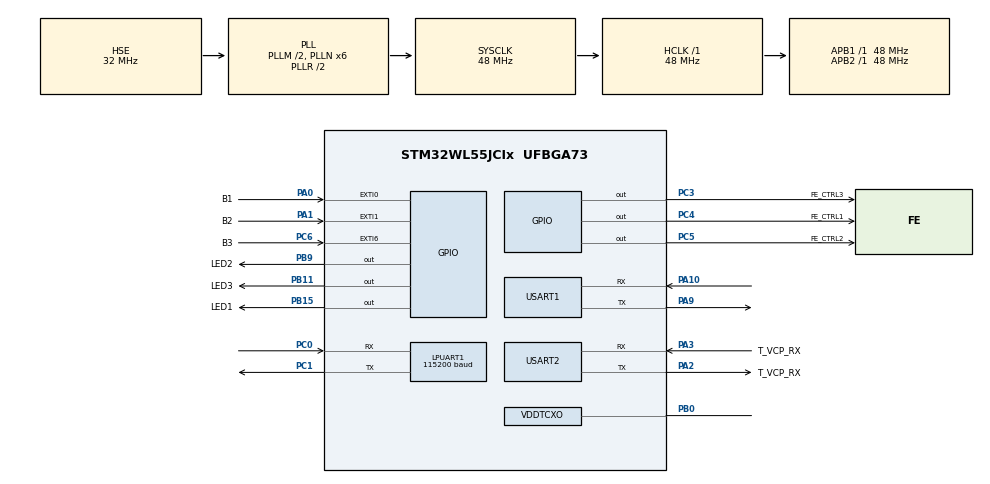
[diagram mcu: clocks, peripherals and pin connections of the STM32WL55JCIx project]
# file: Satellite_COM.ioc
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Dma.LPUART1_RX.0.Channel_PRIV_NPRIV=DMA_CHANNEL_NPRIV_DISABLE
Dma.LPUART1_RX.0.Direction=DMA_PERIPH_TO_MEMORY
Dma.LPUART1_RX.0.EventEnable=DISABLE
Dma.LPUART1_RX.0.Instance=DMA1_Channel1
Dma.LPUART1_RX.0.MemDataAlignment=DMA_MDATAALIGN_BYTE
Dma.LPUART1_RX.0.MemInc=DMA_MINC_ENABLE
Dma.LPUART1_RX.0.Mode=DMA_NORMAL
Dma.LPUART1_RX.0.PeriphDataAlignment=DMA_PDATAALIGN_BYTE
Dma.LPUART1_RX.0.PeriphInc=DMA_PINC_DISABLE
Dma.LPUART1_RX.0.Polarity=HAL_DMAMUX_REQ_GEN_RISING
Dma.LPUART1_RX.0.Priority=DMA_PRIORITY_LOW
Dma.LPUART1_RX.0.RequestNumber=1
Dma.LPUART1_RX.0.SignalID=NONE
Dma.LPUART1_RX.0.SyncEnable=DISABLE
Dma.LPUART1_RX.0.SyncPolarity=HAL_DMAMUX_SYNC_NO_EVENT
Dma.LPUART1_RX.0.SyncRequestNumber=1
Dma.LPUART1_RX.0.SyncSignalID=NONE
Dma.LPUART1_TX.1.Channel_PRIV_NPRIV=DMA_CHANNEL_NPRIV_DISABLE
Dma.LPUART1_TX.1.Direction=DMA_MEMORY_TO_PERIPH
Dma.LPUART1_TX.1.EventEnable=DISABLE
Dma.LPUART1_TX.1.Instance=DMA1_Channel2
Dma.LPUART1_TX.1.MemDataAlignment=DMA_MDATAALIGN_BYTE
Dma.LPUART1_TX.1.MemInc=DMA_MINC_ENABLE
Dma.LPUART1_TX.1.Mode=DMA_NORMAL
Dma.LPUART1_TX.1.PeriphDataAlignment=DMA_PDATAALIGN_BYTE
Dma.LPUART1_TX.1.PeriphInc=DMA_PINC_DISABLE
Dma.LPUART1_TX.1.Polarity=HAL_DMAMUX_REQ_GEN_RISING
Dma.LPUART1_TX.1.Priority=DMA_PRIORITY_LOW
Dma.LPUART1_TX.1.RequestNumber=1
Dma.LPUART1_TX.1.SignalID=NONE
Dma.LPUART1_TX.1.SyncEnable=DISABLE
Dma.LPUART1_TX.1.SyncPolarity=HAL_DMAMUX_SYNC_NO_EVENT
Dma.LPUART1_TX.1.SyncRequestNumber=1
Dma.LPUART1_TX.1.SyncSignalID=NONE
Dma.Request0=LPUART1_RX
Dma.Request1=LPUART1_TX
Dma.Request2=USART1_RX
Dma.Request3=USART1_TX
Dma.Request4=USART2_RX
Dma.Request5=USART2_TX
Dma.USART1_RX.2.Channel_PRIV_NPRIV=DMA_CHANNEL_NPRIV_DISABLE
Dma.USART1_RX.2.Direction=DMA_PERIPH_TO_MEMORY
Dma.USART1_RX.2.EventEnable=DISABLE
Dma.USART1_RX.2.Instance=DMA1_Channel3
Dma.USART1_RX.2.MemDataAlignment=DMA_MDATAALIGN_BYTE
Dma.USART1_RX.2.MemInc=DMA_MINC_ENABLE
Dma.USART1_RX.2.Mode=DMA_NORMAL
Dma.USART1_RX.2.PeriphDataAlignment=DMA_PDATAALIGN_BYTE
Dma.USART1_RX.2.PeriphInc=DMA_PINC_DISABLE
Dma.USART1_RX.2.Polarity=HAL_DMAMUX_REQ_GEN_RISING
Dma.USART1_RX.2.Priority=DMA_PRIORITY_LOW
Dma.USART1_RX.2.RequestNumber=1
Dma.USART1_RX.2.SignalID=NONE
Dma.USART1_RX.2.SyncEnable=DISABLE
Dma.USART1_RX.2.SyncPolarity=HAL_DMAMUX_SYNC_NO_EVENT
Dma.USART1_RX.2.SyncRequestNumber=1
Dma.USART1_RX.2.SyncSignalID=NONE
Dma.USART1_TX.3.Channel_PRIV_NPRIV=DMA_CHANNEL_NPRIV_DISABLE
Dma.USART1_TX.3.Direction=DMA_MEMORY_TO_PERIPH
Dma.USART1_TX.3.EventEnable=DISABLE
Dma.USART1_TX.3.Instance=DMA1_Channel4
Dma.USART1_TX.3.MemDataAlignment=DMA_MDATAALIGN_BYTE
Dma.USART1_TX.3.MemInc=DMA_MINC_ENABLE
Dma.USART1_TX.3.Mode=DMA_NORMAL
Dma.USART1_TX.3.PeriphDataAlignment=DMA_PDATAALIGN_BYTE
Dma.USART1_TX.3.PeriphInc=DMA_PINC_DISABLE
Dma.USART1_TX.3.Polarity=HAL_DMAMUX_REQ_GEN_RISING
Dma.USART1_TX.3.Priority=DMA_PRIORITY_LOW
Dma.USART1_TX.3.RequestNumber=1
Dma.USART1_TX.3.SignalID=NONE
Dma.USART1_TX.3.SyncEnable=DISABLE
Dma.USART1_TX.3.SyncPolarity=HAL_DMAMUX_SYNC_NO_EVENT
Dma.USART1_TX.3.SyncRequestNumber=1
Dma.USART1_TX.3.SyncSignalID=NONE
Dma.USART2_RX.4.Channel_PRIV_NPRIV=DMA_CHANNEL_NPRIV_DISABLE
Dma.USART2_RX.4.Direction=DMA_PERIPH_TO_MEMORY
Dma.USART2_RX.4.EventEnable=DISABLE
Dma.USART2_RX.4.Instance=DMA1_Channel5
Dma.USART2_RX.4.MemDataAlignment=DMA_MDATAALIGN_BYTE
Dma.USART2_RX.4.MemInc=DMA_MINC_ENABLE
Dma.USART2_RX.4.Mode=DMA_NORMAL
Dma.USART2_RX.4.PeriphDataAlignment=DMA_PDATAALIGN_BYTE
Dma.USART2_RX.4.PeriphInc=DMA_PINC_DISABLE
Dma.USART2_RX.4.Polarity=HAL_DMAMUX_REQ_GEN_RISING
Dma.USART2_RX.4.Priority=DMA_PRIORITY_LOW
Dma.USART2_RX.4.RequestNumber=1
Dma.USART2_RX.4.SignalID=NONE
Dma.USART2_RX.4.SyncEnable=DISABLE
Dma.USART2_RX.4.SyncPolarity=HAL_DMAMUX_SYNC_NO_EVENT
Dma.USART2_RX.4.SyncRequestNumber=1
Dma.USART2_RX.4.SyncSignalID=NONE
Dma.USART2_TX.5.Channel_PRIV_NPRIV=DMA_CHANNEL_NPRIV_DISABLE
Dma.USART2_TX.5.Direction=DMA_MEMORY_TO_PERIPH
Dma.USART2_TX.5.EventEnable=DISABLE
Dma.USART2_TX.5.Instance=DMA1_Channel6
Dma.USART2_TX.5.MemDataAlignment=DMA_MDATAALIGN_BYTE
Dma.USART2_TX.5.MemInc=DMA_MINC_ENABLE
Dma.USART2_TX.5.Mode=DMA_NORMAL
Dma.USART2_TX.5.PeriphDataAlignment=DMA_PDATAALIGN_BYTE
Dma.USART2_TX.5.PeriphInc=DMA_PINC_DISABLE
Dma.USART2_TX.5.Polarity=HAL_DMAMUX_REQ_GEN_RISING
Dma.USART2_TX.5.Priority=DMA_PRIORITY_LOW
Dma.USART2_TX.5.RequestNumber=1
Dma.USART2_TX.5.SignalID=NONE
Dma.USART2_TX.5.SyncEnable=DISABLE
Dma.USART2_TX.5.SyncPolarity=HAL_DMAMUX_SYNC_NO_EVENT
Dma.USART2_TX.5.SyncRequestNumber=1
Dma.USART2_TX.5.SyncSignalID=NONE
LPUART1.BaudRate=115200
Mcu.Family=STM32WL
Mcu.Name=STM32WL55JCIx
Mcu.Package=UFBGA73
NVIC.DMA1_Channel1_IRQn=true\:0\:0\:false\:false\:true\:false\:true\:true
NVIC.DMA1_Channel2_IRQn=true\:0\:0\:false\:false\:true\:false\:true\:true
NVIC.DMA1_Channel3_IRQn=true\:0\:0\:false\:false\:true\:false\:true\:true
NVIC.DMA1_Channel4_IRQn=true\:0\:0\:false\:false\:true\:false\:true\:true
NVIC.DMA1_Channel5_IRQn=true\:0\:0\:false\:false\:true\:false\:true\:true
NVIC.DMA1_Channel6_IRQn=true\:0\:0\:false\:false\:true\:false\:true\:true
NVIC.LPUART1_IRQn=true\:0\:0\:false\:false\:true\:true\:true\:true
NVIC.PriorityGroup=NVIC_PRIORITYGROUP_4
NVIC.SUBGHZ_Radio_IRQn=true\:0\:0\:false\:false\:true\:true\:true\:true
NVIC.TIM1_UP_IRQn=true\:0\:0\:false\:false\:true\:true\:true\:true
NVIC.USART1_IRQn=true\:0\:0\:false\:false\:true\:true\:true\:true
NVIC.USART2_IRQn=true\:0\:0\:false\:false\:true\:true\:true\:true
OSC_IN.Mode=HSE-TCXO
OSC_IN.Signal=RCC_OSC_IN
PA0.GPIO_Label=B1
PA0.GPIO_ModeDefaultEXTI=GPIO_MODE_IT_FALLING
PA0.GPIO_PuPd=GPIO_PULLUP
PA0.Signal=GPXTI0
PA1.GPIO_Label=B2
PA1.GPIO_ModeDefaultEXTI=GPIO_MODE_IT_FALLING
PA1.GPIO_PuPd=GPIO_PULLUP
PA1.Signal=GPXTI1
PA10.Mode=Asynchronous
PA10.Signal=USART1_RX
PA13.Mode=Serial_Wire
PA13.Signal=DEBUG_JTMS-SWDIO
PA14.Mode=Serial_Wire
PA14.Signal=DEBUG_JTCK-SWCLK
PA2.GPIO_Label=T_VCP_RX
PA2.Mode=Asynchronous
PA2.Signal=USART2_TX
PA3.GPIO_Label=T_VCP_RX
PA3.Mode=Asynchronous
PA3.Signal=USART2_RX
PA9.Mode=Asynchronous
PA9.Signal=USART1_TX
PB0-VDD_TCXO.Mode=HSE-TCXO
PB0-VDD_TCXO.Signal=VDDTCXO
PB11.GPIO_Label=LED3
PB11.GPIO_Speed=GPIO_SPEED_FREQ_HIGH
PB11.Signal=GPIO_Output
PB15.GPIO_Label=LED1
PB15.GPIO_Speed=GPIO_SPEED_FREQ_HIGH
PB15.Signal=GPIO_Output
PB9.GPIO_FM9=__NULL
PB9.GPIO_Label=LED2
PB9.GPIO_Speed=GPIO_SPEED_FREQ_HIGH
PB9.Signal=GPIO_Output
PC0.Mode=Asynchronous
PC0.Signal=LPUART1_RX
PC1.Mode=Asynchronous
PC1.Signal=LPUART1_TX
PC14-OSC32_IN.Signal=RCC_OSC32_IN
PC15-OSC32_OUT.Signal=RCC_OSC32_OUT
PC3.GPIO_Label=FE_CTRL3
PC3.GPIO_Speed=GPIO_SPEED_FREQ_VERY_HIGH
PC3.Signal=GPIO_Output
PC4.GPIO_Label=FE_CTRL1
PC4.GPIO_Speed=GPIO_SPEED_FREQ_VERY_HIGH
PC4.Signal=GPIO_Output
PC5.GPIO_Label=FE_CTRL2
PC5.GPIO_Speed=GPIO_SPEED_FREQ_VERY_HIGH
PC5.Signal=GPIO_Output
PC6.GPIO_Label=B3
PC6.GPIO_ModeDefaultEXTI=GPIO_MODE_IT_FALLING
PC6.GPIO_PuPd=GPIO_PULLUP
PC6.Signal=GPXTI6
ProjectManager.HeapSize=0x200
ProjectManager.StackSize=0x400
ProjectManager.TargetToolchain=STM32CubeIDE
RCC.AHBFreq_Value=48000000
RCC.APB1Freq_Value=48000000
RCC.APB1TimFreq_Value=48000000
RCC.APB2Freq_Value=48000000
RCC.APB2TimFreq_Value=48000000
RCC.APB3Freq_Value=48000000
RCC.CortexFreq_Value=48000000
RCC.HCLKFreq_Value=48000000
RCC.HSE_VALUE=32000000
RCC.HSI_VALUE=16000000
RCC.LSE_VALUE=32768
RCC.PLLM=RCC_PLLM_DIV2
RCC.PLLN=6
RCC.PLLSourceVirtual=RCC_PLLSOURCE_HSE
RCC.SYSCLKFreq_VALUE=48000000
RCC.SYSCLKSource=RCC_SYSCLKSOURCE_PLLCLK
RCC.VCOOutputFreq_Value=96000000
SUBGHZ.BaudratePrescaler=SUBGHZSPI_BAUDRATEPRESCALER_4
TIM1.Period=1000-1
TIM1.Prescaler=48-1
TIM2.AutoReloadPreload=TIM_AUTORELOAD_PRELOAD_ENABLE
TIM2.Period=1000001-1
TIM2.Prescaler=48-1
USART1.VirtualMode-Asynchronous=VM_ASYNC
USART2.VirtualMode-Asynchronous=VM_ASYNC
VP_ADV_TRACE_VS_ADV_TRACE.Mode=ADV_TRACE_Enabled
VP_MISC_VS_MISC.Mode=MISC_Enabled
VP_SEQUENCER_M4_VS_SEQUENCER.Mode=SEQUENCER_Enabled
VP_SUBGHZ_PHY_VS_SubGhzPhy.Mode=SubGhzPhy_Enabled
VP_SUBGHZ_VS_SUBGHZ.Mode=SUBGHZ_Activate
VP_TIM1_VS_ClockSourceINT.Mode=Internal
VP_TIM2_VS_ClockSourceINT.Mode=Internal
VP_TIMER_VS_TIMER.Mode=TIMER_Enabled
VP_TINY_LPM_VS_TINY_LPM.Mode=TINY_LPM_Enabled
board=NUCLEO-WL55JC2

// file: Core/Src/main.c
/* USER CODE BEGIN Header */
/**
 ******************************************************************************
 * @file           : main.c
 * @brief          : Main program body
 ******************************************************************************
 * @attention
 *
 * Copyright (c) 2024 STMicroelectronics.
 * All rights reserved.
 *
 * This software is licensed under terms that can be found in the LICENSE file
 * in the root directory of this software component.
 * If no LICENSE file comes with this software, it is provided AS-IS.
 *
 ******************************************************************************
 */
/* USER CODE END Header */
#include "main.h"
#include "app_subghz_phy.h"

/* USER CODE BEGIN Includes */
#include "radio_driver.h"
#include "com_debug.h"
#include "error_handler.h"
#include "ax25_generator.h"
#include "obc_interface.h"
/* USER CODE END Includes */

/* USER CODE BEGIN PM */
#define RX_BUFF_LENGTH			(105)
#define OBC_PAYLOAD_LENGTH		(85)

#define FREQ_435_MHZ            (435313000) //UP-LINK
#define FREQ_437_MHZ			(437375000)	//DOWN-LINK

#define PA_DUTY_CYCLE           (0x07)
#define HP_MAX                  (0x00)
#define PA_SEL                  (0x01)

#define POWER                   (0x0E)
#define RAMP_TIME               (0x02)

#define GFSK_BR_1200            1200
#define GFSK_FDEV_1200          3000

#define GFSK_BR_4800            4800
#define GFSK_FDEV_4800          12000
/* USER CODE END PM */

UART_HandleTypeDef hlpuart1;
UART_HandleTypeDef huart1;
UART_HandleTypeDef huart2;
DMA_HandleTypeDef hdma_lpuart1_rx;
DMA_HandleTypeDef hdma_lpuart1_tx;
DMA_HandleTypeDef hdma_usart1_rx;
DMA_HandleTypeDef hdma_usart1_tx;
DMA_HandleTypeDef hdma_usart2_rx;
DMA_HandleTypeDef hdma_usart2_tx;

SUBGHZ_HandleTypeDef hsubghz;

TIM_HandleTypeDef htim1;
TIM_HandleTypeDef htim2;

/* USER CODE BEGIN PV */
PacketParams_t pkt_params;
ModulationParams_t mod_params;

uint8_t rx_buffer_len = RX_BUFF_LENGTH;
uint8_t rx_buffer[RX_BUFF_LENGTH];

uint8_t rssi_value = 0;

uint8_t obc_plen = OBC_PAYLOAD_LENGTH;
uint8_t obc_ilen = 0;

uint8_t OBC_UART_RX[OBC_PAYLOAD_LENGTH];

int OBC_SUCCESS_DATA_RX_FLAG = 0;

uint8_t temp_tx_buffer[150];
uint8_t tx_buffer[150];
int tx_buffer_len = 0;

int OBC_HANDSHAKE_FLAG = 0;

int DIGIPEATER_STATUS = 0;
int BEACON_COUNT = 2;
int COUNT_BEACON = 2;

uint8_t PACKET_TYPE = 0;
int DIGIPEATER_FLAG = 0;
int DIGIPEATER_RX_FLAG = 0;

int packet_type_true = 0;

uint32_t mSEC = 0;
uint32_t sec = 0;
uint32_t min = 0;
int count = 0;
int pktid = 0;

/* USER CODE END PV */

void SystemClock_Config(void);
static void MX_GPIO_Init(void);
static void MX_DMA_Init(void);
static void MX_USART2_UART_Init(void);
static void MX_LPUART1_UART_Init(void);
static void MX_USART1_UART_Init(void);
static void MX_TIM2_Init(void);
static void MX_TIM1_Init(void);
/* USER CODE BEGIN PFP */
int countsDataBetweenFlags(uint8_t *data, int data_length);
void setPacketParams(uint8_t buffer_length);
void setModulationParams(unsigned long bitRate, unsigned long fDev);
void radioConfig(uint8_t *buffer, uint8_t buffer_len);
void DioIrqHndlr(RadioIrqMasks_t radioIrq);
void HAL_UART_RxCpltCallback(UART_HandleTypeDef *huart);
/* USER CODE END PFP */

/* USER CODE BEGIN 0 */

void HAL_TIM_PeriodElapsedCallback(TIM_HandleTypeDef *htim) {
	if (htim == &htim1) {

		mSEC++;

		if (mSEC > 999) {
			sec++;
			count++;
			mSEC = 0;
		}

		if (sec > 60) {
			min++;
			sec = 0;
		}

		if (count == 1) {
			count = 0;

			OBC_UART_RX[0] = 0x53;	//header
			OBC_UART_RX[1] = 0x0a;	//packet_ type
			OBC_UART_RX[2] = 0x51;	//length of info

			int j = 3;
			for (int i = 1; i < 80; i++) {
				OBC_UART_RX[j] = i;
				j++;
			}

			static int k = 0;

			OBC_UART_RX[j] = k;	//mcu_no
			k++;
			OBC_UART_RX[j + 1] = 0x00;	// packet error

			obc_ilen = OBC_UART_RX[2];

			if (k == 10) {
				k = 0;
			}

			OBC_SUCCESS_DATA_RX_FLAG = 1;
		}
	}
}

int countsDataBetweenFlags(uint8_t *data, int data_length) {
	int found_first_7e = 0;
	int start_index = 0, end_index = 0;

	for (int i = 0; i < data_length; i++) {
		if (data[i] == 0x7e) {
			if (!found_first_7e) {
				found_first_7e = 1;
				start_index = i;
			} else {
				end_index = i;
				break;
			}
		}
	}

	if (end_index > start_index) {
		return end_index - start_index + 1;
	} else {
		return -1; // Return -1 if two 0x7E flags are not found
	}
}

void setPacketParams(uint8_t buffer_length) {
	pkt_params.PacketType = PACKET_TYPE_GFSK;
	pkt_params.Params.Gfsk.PayloadLength = buffer_length;
	pkt_params.Params.Gfsk.PreambleLength = 8;
	pkt_params.Params.Gfsk.PreambleMinDetect = RADIO_PREAMBLE_DETECTOR_08_BITS;
	pkt_params.Params.Gfsk.SyncWordLength = 3 << 3;
	pkt_params.Params.Gfsk.AddrComp = RADIO_ADDRESSCOMP_FILT_OFF;
	pkt_params.Params.Gfsk.HeaderType = RADIO_PACKET_FIXED_LENGTH;
	pkt_params.Params.Gfsk.CrcLength = RADIO_CRC_2_BYTES_CCIT;
	pkt_params.Params.Gfsk.DcFree = RADIO_DC_FREEWHITENING;
	SUBGRF_SetPacketParams(&pkt_params);

}
void setModulationParams(unsigned long bitRate, unsigned long fDev) {
	mod_params.PacketType = PACKET_TYPE_GFSK;
	mod_params.Params.Gfsk.Bandwidth = RX_BW_29300;
	mod_params.Params.Gfsk.BitRate = bitRate;
	mod_params.Params.Gfsk.Fdev = fDev;
	mod_params.Params.Gfsk.ModulationShaping = MOD_SHAPING_G_BT_1;
	SUBGRF_SetModulationParams(&mod_params);

}

void radioConfig(uint8_t *buffer, uint8_t buffer_len) {
	SUBGRF_SetBufferBaseAddress(0x00, 0x00);
	SUBGRF_SetPayload(buffer, buffer_len);
	SUBGRF_SetSyncWord(( uint8_t[] ) { 0xC1, 0x94, 0xC1, 0x00, 0x00, 0x00, 0x00,
					0x00 });
	SUBGRF_SetWhiteningSeed(0x01FF);
	SUBGRF_SetPaConfig(PA_DUTY_CYCLE, HP_MAX, PA_SEL, 0x01);
	SUBGRF_SetTxParams(RFO_LP, POWER, RAMP_TIME);

	SUBGRF_Init(DioIrqHndlr);
	SUBGRF_SetDioIrqParams(
			IRQ_TX_DONE | IRQ_PREAMBLE_DETECTED | IRQ_RX_DONE
					| IRQ_RX_TX_TIMEOUT | IRQ_SYNCWORD_VALID,
			IRQ_TX_DONE | IRQ_PREAMBLE_DETECTED | IRQ_RX_DONE
					| IRQ_RX_TX_TIMEOUT | IRQ_SYNCWORD_VALID, IRQ_RADIO_NONE,
			IRQ_RADIO_NONE);
}

void HAL_UART_RxCpltCallback(UART_HandleTypeDef *huart) {
	if (huart == &huart2 || huart == &hlpuart1 || huart == &huart1) {

		if (OBC_HANDSHAKE_FLAG) {

			uint8_t header = 0x00;

			if (OBC_UART_RX[0] == header || OBC_UART_RX[0] != 0x53) {

				for (int loop1 = 0; loop1 < sizeof(OBC_UART_RX); loop1++) {
					OBC_UART_RX[loop1] = OBC_UART_RX[loop1 + 1];
				}
			}

			packet_type_true = check_packet_type(OBC_UART_RX);

			if (packet_type_true) {

				if (DIGIPEATER_STATUS == 1 && BEACON_COUNT == 0
						&& DIGIPEATER_RX_FLAG == 1) {

					OBC_SUCCESS_DATA_RX_FLAG = 0;

//					myDebug("\n--> Digipeater Data Received from OBC: 0x%x\r\n",
//							OBC_UART_RX);
//					for (int i = 0; i < sizeof(OBC_UART_RX); i++) {
//						myDebug("%02x ", OBC_UART_RX[i]);
//					}
//					myDebug("\r\n");

					if (OBC_UART_RX[0] == 0x53 && OBC_UART_RX[83] == 0x7E) {
						myDebug(
								"--> Correct Digipeater Data received from OBC\n");
						obc_ilen = OBC_UART_RX[2];  //len of info
						PACKET_TYPE = OBC_UART_RX[1]; //packet_type
						DIGIPEATER_FLAG = 1;

						getAX25Packet(OBC_UART_RX, obc_ilen);

						tx_buffer_len = countsDataBetweenFlags(temp_tx_buffer,
								sizeof(temp_tx_buffer));

//						myDebug(		"Digipeater Packet complete, ready to TX: 0x%x\r\n", temp_tx_buffer);
						for (int j = 0; j < tx_buffer_len; j++) {
							tx_buffer[j] = temp_tx_buffer[j];
//							myDebug("%02x ", tx_buffer[j]);
						}
//						myDebug("\r\n");
//						myDebug("size of tx_buffer = %d\r\n", tx_buffer_len);

						memset(OBC_UART_RX, '\0', obc_ilen);
						memset(temp_tx_buffer, '\0', sizeof(temp_tx_buffer));

						delay_us(500000);

						setPacketParams(tx_buffer_len);
						setModulationParams(GFSK_BR_1200, GFSK_FDEV_1200);
						radioConfig(tx_buffer, tx_buffer_len);

						myDebug("\n########## TX Configuration: ##########\n");

						myDebug("FREQUENCY MODS: DOWNLINK FREQ: %lu Hz\r\n",
						FREQ_437_MHZ);
						myDebug("Bit Rate: 	%d\n\r",
								mod_params.Params.Gfsk.BitRate);
						myDebug("Frequency Deviation: 	%d\n\r",
								mod_params.Params.Gfsk.Fdev);
						myDebug("RECEVING BANDWIDTH: 	%d\n\r",
								mod_params.Params.Gfsk.Bandwidth);
						myDebug("Packet Type 			%d\n\r", pkt_params.PacketType);
						myDebug("PayloadLength 			%d\n\r",
								pkt_params.Params.Gfsk.PayloadLength);
						myDebug("PreambleLength 		%d\n\r",
								pkt_params.Params.Gfsk.PreambleLength);
						myDebug("PreambleMinDetect		%d\n\r",
								pkt_params.Params.Gfsk.PreambleMinDetect);
						myDebug("HeaderType 			%d\n\r",
								pkt_params.Params.Gfsk.HeaderType);
						myDebug("__________*******************__________\r\n");

						SUBGRF_SetRfFrequency(FREQ_437_MHZ);
						SUBGRF_SetSwitch(RFO_LP, RFSWITCH_TX);
						SUBGRF_SendPayload(tx_buffer, tx_buffer_len, 0);

					} else {
						myDebug(
								"*** Incorrect Digipeater Data received from OBC\n");
						if (HAL_UART_Transmit(&huart2, OBC_UART_RX, obc_plen,
								2000) == HAL_OK
								|| HAL_UART_Transmit(&hlpuart1, OBC_UART_RX,
										obc_plen, 2000) == HAL_OK) {
							myDebug(
									"*** Incorrect Digipeater Data re-transmit to OBC, Length: %d\r\n",
									sizeof(OBC_UART_RX));

							for (int i = 0; i < sizeof(OBC_UART_RX); i++) {
								myDebug("%02x ", OBC_UART_RX[i]);
							}

							myDebug("\r\n");

							memset(OBC_UART_RX, '\0', sizeof(OBC_UART_RX));

							OBC_SUCCESS_DATA_RX_FLAG = 0;
							DIGIPEATER_FLAG = 0;
						}
					}

				} else {

//					myDebug("\n--> Command Received from OBC: 0x%x\r\n",
//							OBC_UART_RX);
//					for (int i = 0; i < sizeof(OBC_UART_RX); i++) {
//						myDebug("%02x ", OBC_UART_RX[i]);
//					}
//					myDebug("\r\n");

					if (OBC_UART_RX[0] == 0x53 && OBC_UART_RX[(83)] == 0x7E) {
//						myDebug("--> Correct command received from OBC\n");
						obc_ilen = OBC_UART_RX[2];  //len of info
						PACKET_TYPE = OBC_UART_RX[1]; //packet_type

						if (PACKET_TYPE == 0xB1) {
							BEACON_COUNT = 2;
							COUNT_BEACON = 2;
						}

						OBC_SUCCESS_DATA_RX_FLAG = 1;
					} else {
						myDebug("*** Incorrect command received from OBC\n");
						if (HAL_UART_Transmit(&huart2, OBC_UART_RX, obc_plen,
								2000) == HAL_OK
								|| HAL_UART_Transmit(&hlpuart1, OBC_UART_RX,
										obc_plen, 2000) == HAL_OK) {
							myDebug(
									"*** Incorrect command re-transmit to OBC, Length: %d\r\n",
									sizeof(OBC_UART_RX));

							for (int i = 0; i < sizeof(OBC_UART_RX); i++) {
								myDebug("%02x ", OBC_UART_RX[i]);
							}

							myDebug("\r\n");

							memset(OBC_UART_RX, '\0', sizeof(OBC_UART_RX));

							OBC_SUCCESS_DATA_RX_FLAG = 0;
						}
					}
				}
			} else {
				myDebug("*** Incorrect packet type received from OBC\n");

				if (HAL_UART_Transmit(&huart2, OBC_UART_RX, obc_plen, 1000)
						== HAL_OK
						|| HAL_UART_Transmit(&hlpuart1, OBC_UART_RX, obc_plen,
								1000) == HAL_OK) {
					myDebug(
							"*** Incorrect command re-transmit to OBC, Length: %d\r\n",
							sizeof(OBC_UART_RX));

					for (int i = 0; i < sizeof(OBC_UART_RX); i++) {
						myDebug("%02x ", OBC_UART_RX[i]);
					}

					myDebug("\r\n");

					memset(OBC_UART_RX, '\0', sizeof(OBC_UART_RX));

					OBC_SUCCESS_DATA_RX_FLAG = 0;
				}
			}

			HAL_UART_Receive_DMA(&huart2, OBC_UART_RX, obc_plen);

			HAL_UART_Receive_DMA(&hlpuart1, OBC_UART_RX, obc_plen);
		}
	}
}

/* USER CODE END 0 */

int main(void) {

	/* MCU Configuration--------------------------------------------------------*/

	/* Reset of all peripherals, Initializes the Flash interface and the Systick. */
	HAL_Init();

	/* Configure the system clock */
	SystemClock_Config();

	/* Initialize all configured peripherals */
	MX_GPIO_Init();
	MX_DMA_Init();
	MX_USART2_UART_Init();
	MX_LPUART1_UART_Init();
	MX_USART1_UART_Init();
	MX_SubGHz_Phy_Init();
	MX_TIM2_Init();
	MX_TIM1_Init();
	/* USER CODE BEGIN 2 */

	HAL_TIM_Base_Start(&htim2);

	myDebug("########## Slippers2Sat SATELLITE COM: BEGIN ##########\r\n");
	myDebug("########## COMMUNICATION PARAMETERS ##########\r\n");
	myDebug("Modulation: GFSK PACKET\r\n");
	myDebug("FREQUENCY MODES: DOWNLINK FREQ: %luHz and UPLINK FREQ: %lu Hz\r\n",
	FREQ_437_MHZ, FREQ_435_MHZ);
	myDebug("STM32 BSP_SubGHz-WL Radio: Low Power\n");
	myDebug(
			"POWER CONFIG:::- \n"
					"\t PA_DUTY_CYCLE: %x, HP_MAX: %x, PA_SEL: %x, POWER TX: %u dBm\r\n",
			PA_DUTY_CYCLE, HP_MAX, PA_SEL, POWER);

	myDebug("\n########## Wait for Handshake ##########\r\n");

	OBC_HANDSHAKE_FLAG = 1;

	while (OBC_HANDSHAKE_FLAG == 0) {
		WAIT_FOR_HANDSHAKE();
	}

	setPacketParams(rx_buffer_len);
	setModulationParams(GFSK_BR_1200, GFSK_FDEV_1200);
	radioConfig(rx_buffer, rx_buffer_len);

	myDebug(
			"\n########## Operation Starts, Perform any one operation: ##########\r\n");
	myDebug("1. Transmit from Satellite\r\n");
	myDebug("2. Wait to receive GS Command\r\n");

	myDebug("\n########## RX Configuration: ##########\n");

	myDebug("FREQUENCY MODS: UPLINK FREQ: %lu Hz\r\n", FREQ_435_MHZ);
	myDebug("Bit Rate: 	%d\n\r", mod_params.Params.Gfsk.BitRate);
	myDebug("Frequency Deviation: 	%d\n\r", mod_params.Params.Gfsk.Fdev);
	myDebug("RECEVING BANDWIDTH: 	%d\n\r", mod_params.Params.Gfsk.Bandwidth);
	myDebug("Packet Type 			%d\n\r", pkt_params.PacketType);
	myDebug("PayloadLength 			%d\n\r", pkt_params.Params.Gfsk.PayloadLength);
	myDebug("PreambleLength 		%d\n\r", pkt_params.Params.Gfsk.PreambleLength);
	myDebug("PreambleMinDetect		%d\n\r",
			pkt_params.Params.Gfsk.PreambleMinDetect);
	myDebug("HeaderType 			%d\n\r", pkt_params.Params.Gfsk.HeaderType);
	myDebug("__________*******************__________\r\n");

	SUBGRF_SetRfFrequency(FREQ_435_MHZ);
	SUBGRF_SetSwitch(RFO_LP, RFSWITCH_RX); /*Set RF switch*/
	SUBGRF_SetRxBoosted(0xFFFFFF);

	HAL_UART_Receive_DMA(&huart2, OBC_UART_RX, obc_plen);

	HAL_UART_Receive_DMA(&hlpuart1, OBC_UART_RX, obc_plen);

	/* USER CODE END 2 */

	/* Infinite loop */
	while (1) {
		MX_SubGHz_Phy_Process();

		/* USER CODE BEGIN 3 */

		delay_us(500000);

		if (OBC_SUCCESS_DATA_RX_FLAG) {

			getAX25Packet(OBC_UART_RX, obc_ilen);

			tx_buffer_len = countsDataBetweenFlags(temp_tx_buffer,
					sizeof(temp_tx_buffer));

//			myDebug("AX.25 complete GS packet ready to TX: 0x%x\r\n",ntemp_tx_buffer);
			for (int j = 0; j < tx_buffer_len; j++) {
				tx_buffer[j] = temp_tx_buffer[j];
//				myDebug("%02x ", tx_buffer[j]);
			}
//			myDebug("\r\n");
//			myDebug("size of tx_buffer = %d\r\n", tx_buffer_len);

			memset(OBC_UART_RX, '\0', obc_ilen);
			memset(temp_tx_buffer, '\0', sizeof(temp_tx_buffer));

			setPacketParams(tx_buffer_len);
			setModulationParams(GFSK_BR_4800, GFSK_FDEV_4800);
			radioConfig(tx_buffer, tx_buffer_len);

			myDebug("\n########## TX Configuration: ##########\n");

			myDebug("FREQUENCY MODS: DOWNLINK FREQ: %lu Hz\r\n", FREQ_437_MHZ);
			myDebug("Bit Rate: 	%d\n\r", mod_params.Params.Gfsk.BitRate);
			myDebug("Frequency Deviation: 	%d\n\r",
					mod_params.Params.Gfsk.Fdev);
			myDebug("RECEVING BANDWIDTH: 	%d\n\r",
					mod_params.Params.Gfsk.Bandwidth);
			myDebug("Packet Type 			%d\n\r", pkt_params.PacketType);
			myDebug("PayloadLength 			%d\n\r",
					pkt_params.Params.Gfsk.PayloadLength);
			myDebug("PreambleLength 		%d\n\r",
					pkt_params.Params.Gfsk.PreambleLength);
			myDebug("PreambleMinDetect		%d\n\r",
					pkt_params.Params.Gfsk.PreambleMinDetect);
			myDebug("HeaderType 			%d\n\r", pkt_params.Params.Gfsk.HeaderType);
			myDebug("__________*******************__________\r\n");

			SUBGRF_SetRfFrequency(FREQ_437_MHZ);
			SUBGRF_SetSwitch(RFO_LP, RFSWITCH_TX);
			SUBGRF_SendPayload(tx_buffer, tx_buffer_len, 0);

		}

		HAL_UART_Receive_DMA(&huart2, OBC_UART_RX, obc_plen);

		HAL_UART_Receive_DMA(&hlpuart1, OBC_UART_RX, obc_plen);
	}
	/* USER CODE END 3 */
}

void SystemClock_Config(void) {
	RCC_OscInitTypeDef RCC_OscInitStruct = { 0 };
	RCC_ClkInitTypeDef RCC_ClkInitStruct = { 0 };

	/** Configure the main internal regulator output voltage
	 */
	__HAL_PWR_VOLTAGESCALING_CONFIG(PWR_REGULATOR_VOLTAGE_SCALE1);

	/** Initializes the CPU, AHB and APB buses clocks
	 */
	RCC_OscInitStruct.OscillatorType = RCC_OSCILLATORTYPE_HSE;
	RCC_OscInitStruct.HSEState = RCC_HSE_BYPASS_PWR;
	RCC_OscInitStruct.HSEDiv = RCC_HSE_DIV1;
	RCC_OscInitStruct.PLL.PLLState = RCC_PLL_ON;
	RCC_OscInitStruct.PLL.PLLSource = RCC_PLLSOURCE_HSE;
	RCC_OscInitStruct.PLL.PLLM = RCC_PLLM_DIV2;
	RCC_OscInitStruct.PLL.PLLN = 6;
	RCC_OscInitStruct.PLL.PLLP = RCC_PLLP_DIV2;
	RCC_OscInitStruct.PLL.PLLR = RCC_PLLR_DIV2;
	RCC_OscInitStruct.PLL.PLLQ = RCC_PLLQ_DIV2;
	if (HAL_RCC_OscConfig(&RCC_OscInitStruct) != HAL_OK) {
		Error_Handler();
	}

	/** Configure the SYSCLKSource, HCLK, PCLK1 and PCLK2 clocks dividers
	 */
	RCC_ClkInitStruct.ClockType = RCC_CLOCKTYPE_HCLK3 | RCC_CLOCKTYPE_HCLK
			| RCC_CLOCKTYPE_SYSCLK | RCC_CLOCKTYPE_PCLK1 | RCC_CLOCKTYPE_PCLK2;
	RCC_ClkInitStruct.SYSCLKSource = RCC_SYSCLKSOURCE_PLLCLK;
	RCC_ClkInitStruct.AHBCLKDivider = RCC_SYSCLK_DIV1;
	RCC_ClkInitStruct.APB1CLKDivider = RCC_HCLK_DIV1;
	RCC_ClkInitStruct.APB2CLKDivider = RCC_HCLK_DIV1;
	RCC_ClkInitStruct.AHBCLK3Divider = RCC_SYSCLK_DIV1;

	if (HAL_RCC_ClockConfig(&RCC_ClkInitStruct, FLASH_LATENCY_2) != HAL_OK) {
		Error_Handler();
	}
}

static void MX_LPUART1_UART_Init(void) {

	hlpuart1.Instance = LPUART1;
	hlpuart1.Init.BaudRate = 115200;
	hlpuart1.Init.WordLength = UART_WORDLENGTH_8B;
	hlpuart1.Init.StopBits = UART_STOPBITS_1;
	hlpuart1.Init.Parity = UART_PARITY_NONE;
	hlpuart1.Init.Mode = UART_MODE_TX_RX;
	hlpuart1.Init.HwFlowCtl = UART_HWCONTROL_NONE;
	hlpuart1.Init.OneBitSampling = UART_ONE_BIT_SAMPLE_DISABLE;
	hlpuart1.Init.ClockPrescaler = UART_PRESCALER_DIV1;
	hlpuart1.AdvancedInit.AdvFeatureInit = UART_ADVFEATURE_NO_INIT;
	hlpuart1.FifoMode = UART_FIFOMODE_DISABLE;
	if (HAL_UART_Init(&hlpuart1) != HAL_OK) {
		Error_Handler();
	}
	if (HAL_UARTEx_SetTxFifoThreshold(&hlpuart1, UART_TXFIFO_THRESHOLD_1_8)
			!= HAL_OK) {
		Error_Handler();
	}
	if (HAL_UARTEx_SetRxFifoThreshold(&hlpuart1, UART_RXFIFO_THRESHOLD_1_8)
			!= HAL_OK) {
		Error_Handler();
	}
	if (HAL_UARTEx_DisableFifoMode(&hlpuart1) != HAL_OK) {
		Error_Handler();
	}

}

static void MX_USART1_UART_Init(void) {

	huart1.Instance = USART1;
	huart1.Init.BaudRate = 115200;
	huart1.Init.WordLength = UART_WORDLENGTH_8B;
	huart1.Init.StopBits = UART_STOPBITS_1;
	huart1.Init.Parity = UART_PARITY_NONE;
	huart1.Init.Mode = UART_MODE_TX_RX;
	huart1.Init.HwFlowCtl = UART_HWCONTROL_NONE;
	huart1.Init.OverSampling = UART_OVERSAMPLING_16;
	huart1.Init.OneBitSampling = UART_ONE_BIT_SAMPLE_DISABLE;
	huart1.Init.ClockPrescaler = UART_PRESCALER_DIV1;
	huart1.AdvancedInit.AdvFeatureInit = UART_ADVFEATURE_NO_INIT;
	if (HAL_UART_Init(&huart1) != HAL_OK) {
		Error_Handler();
	}
	if (HAL_UARTEx_SetTxFifoThreshold(&huart1, UART_TXFIFO_THRESHOLD_1_8)
			!= HAL_OK) {
		Error_Handler();
	}
	if (HAL_UARTEx_SetRxFifoThreshold(&huart1, UART_RXFIFO_THRESHOLD_1_8)
			!= HAL_OK) {
		Error_Handler();
	}
	if (HAL_UARTEx_DisableFifoMode(&huart1) != HAL_OK) {
		Error_Handler();
	}

}

static void MX_USART2_UART_Init(void) {

	huart2.Instance = USART2;
	huart2.Init.BaudRate = 115200;
	huart2.Init.WordLength = UART_WORDLENGTH_8B;
	huart2.Init.StopBits = UART_STOPBITS_1;
	huart2.Init.Parity = UART_PARITY_NONE;
	huart2.Init.Mode = UART_MODE_TX_RX;
	huart2.Init.HwFlowCtl = UART_HWCONTROL_NONE;
	huart2.Init.OverSampling = UART_OVERSAMPLING_16;
	huart2.Init.OneBitSampling = UART_ONE_BIT_SAMPLE_DISABLE;
	huart2.Init.ClockPrescaler = UART_PRESCALER_DIV1;
	huart2.AdvancedInit.AdvFeatureInit = UART_ADVFEATURE_NO_INIT;
	if (HAL_UART_Init(&huart2) != HAL_OK) {
		Error_Handler();
	}
	if (HAL_UARTEx_SetTxFifoThreshold(&huart2, UART_TXFIFO_THRESHOLD_1_8)
			!= HAL_OK) {
		Error_Handler();
	}
	if (HAL_UARTEx_SetRxFifoThreshold(&huart2, UART_RXFIFO_THRESHOLD_1_8)
			!= HAL_OK) {
		Error_Handler();
	}
	if (HAL_UARTEx_DisableFifoMode(&huart2) != HAL_OK) {
		Error_Handler();
	}

}

void MX_SUBGHZ_Init(void) {

	hsubghz.Init.BaudratePrescaler = SUBGHZSPI_BAUDRATEPRESCALER_4;
	if (HAL_SUBGHZ_Init(&hsubghz) != HAL_OK) {
		Error_Handler();
	}

}

static void MX_TIM1_Init(void) {

	TIM_ClockConfigTypeDef sClockSourceConfig = { 0 };
	TIM_MasterConfigTypeDef sMasterConfig = { 0 };

	htim1.Instance = TIM1;
	htim1.Init.Prescaler = 48 - 1;
	htim1.Init.CounterMode = TIM_COUNTERMODE_UP;
	htim1.Init.Period = 1000 - 1;
	htim1.Init.ClockDivision = TIM_CLOCKDIVISION_DIV1;
	htim1.Init.RepetitionCounter = 0;
	htim1.Init.AutoReloadPreload = TIM_AUTORELOAD_PRELOAD_DISABLE;
	if (HAL_TIM_Base_Init(&htim1) != HAL_OK) {
		Error_Handler();
	}
	sClockSourceConfig.ClockSource = TIM_CLOCKSOURCE_INTERNAL;
	if (HAL_TIM_ConfigClockSource(&htim1, &sClockSourceConfig) != HAL_OK) {
		Error_Handler();
	}
	sMasterConfig.MasterOutputTrigger = TIM_TRGO_RESET;
	sMasterConfig.MasterOutputTrigger2 = TIM_TRGO2_RESET;
	sMasterConfig.MasterSlaveMode = TIM_MASTERSLAVEMODE_DISABLE;
	if (HAL_TIMEx_MasterConfigSynchronization(&htim1, &sMasterConfig)
			!= HAL_OK) {
		Error_Handler();
	}

}

static void MX_TIM2_Init(void) {

	TIM_ClockConfigTypeDef sClockSourceConfig = { 0 };
	TIM_MasterConfigTypeDef sMasterConfig = { 0 };

	htim2.Instance = TIM2;
	htim2.Init.Prescaler = 48 - 1;
	htim2.Init.CounterMode = TIM_COUNTERMODE_UP;
	htim2.Init.Period = 1000001 - 1;
	htim2.Init.ClockDivision = TIM_CLOCKDIVISION_DIV1;
	htim2.Init.AutoReloadPreload = TIM_AUTORELOAD_PRELOAD_ENABLE;
	if (HAL_TIM_Base_Init(&htim2) != HAL_OK) {
		Error_Handler();
	}
	sClockSourceConfig.ClockSource = TIM_CLOCKSOURCE_INTERNAL;
	if (HAL_TIM_ConfigClockSource(&htim2, &sClockSourceConfig) != HAL_OK) {
		Error_Handler();
	}
	sMasterConfig.MasterOutputTrigger = TIM_TRGO_RESET;
	sMasterConfig.MasterSlaveMode = TIM_MASTERSLAVEMODE_DISABLE;
	if (HAL_TIMEx_MasterConfigSynchronization(&htim2, &sMasterConfig)
			!= HAL_OK) {
		Error_Handler();
	}

}

static void MX_DMA_Init(void) {

	/* DMA controller clock enable */
	__HAL_RCC_DMAMUX1_CLK_ENABLE();
	__HAL_RCC_DMA1_CLK_ENABLE();

	/* DMA interrupt init */
	/* DMA1_Channel1_IRQn interrupt configuration */
	HAL_NVIC_SetPriority(DMA1_Channel1_IRQn, 0, 0);
	HAL_NVIC_EnableIRQ(DMA1_Channel1_IRQn);
	/* DMA1_Channel2_IRQn interrupt configuration */
	HAL_NVIC_SetPriority(DMA1_Channel2_IRQn, 0, 0);
	HAL_NVIC_EnableIRQ(DMA1_Channel2_IRQn);
	/* DMA1_Channel3_IRQn interrupt configuration */
	HAL_NVIC_SetPriority(DMA1_Channel3_IRQn, 0, 0);
	HAL_NVIC_EnableIRQ(DMA1_Channel3_IRQn);
	/* DMA1_Channel4_IRQn interrupt configuration */
	HAL_NVIC_SetPriority(DMA1_Channel4_IRQn, 0, 0);
	HAL_NVIC_EnableIRQ(DMA1_Channel4_IRQn);
	/* DMA1_Channel5_IRQn interrupt configuration */
	HAL_NVIC_SetPriority(DMA1_Channel5_IRQn, 0, 0);
	HAL_NVIC_EnableIRQ(DMA1_Channel5_IRQn);
	/* DMA1_Channel6_IRQn interrupt configuration */
	HAL_NVIC_SetPriority(DMA1_Channel6_IRQn, 0, 0);
	HAL_NVIC_EnableIRQ(DMA1_Channel6_IRQn);

}

static void MX_GPIO_Init(void) {
	GPIO_InitTypeDef GPIO_InitStruct = { 0 };

	/* GPIO Ports Clock Enable */
	__HAL_RCC_GPIOA_CLK_ENABLE();
	__HAL_RCC_GPIOB_CLK_ENABLE();
	__HAL_RCC_GPIOC_CLK_ENABLE();

	/*Configure GPIO pin Output Level */
	HAL_GPIO_WritePin(GPIOB, LED1_Pin | LED2_Pin | LED3_Pin, GPIO_PIN_RESET);

	/*Configure GPIO pin Output Level */
	HAL_GPIO_WritePin(GPIOC, FE_CTRL3_Pin | FE_CTRL2_Pin | FE_CTRL1_Pin,
			GPIO_PIN_RESET);

	/*Configure GPIO pins : LED1_Pin LED2_Pin LED3_Pin */
	GPIO_InitStruct.Pin = LED1_Pin | LED2_Pin | LED3_Pin;
	GPIO_InitStruct.Mode = GPIO_MODE_OUTPUT_PP;
	GPIO_InitStruct.Pull = GPIO_NOPULL;
	GPIO_InitStruct.Speed = GPIO_SPEED_FREQ_HIGH;
	HAL_GPIO_Init(GPIOB, &GPIO_InitStruct);

	/*Configure GPIO pins : FE_CTRL3_Pin FE_CTRL2_Pin FE_CTRL1_Pin */
	GPIO_InitStruct.Pin = FE_CTRL3_Pin | FE_CTRL2_Pin | FE_CTRL1_Pin;
	GPIO_InitStruct.Mode = GPIO_MODE_OUTPUT_PP;
	GPIO_InitStruct.Pull = GPIO_NOPULL;
	GPIO_InitStruct.Speed = GPIO_SPEED_FREQ_VERY_HIGH;
	HAL_GPIO_Init(GPIOC, &GPIO_InitStruct);

	/*Configure GPIO pins : B1_Pin B2_Pin */
	GPIO_InitStruct.Pin = B1_Pin | B2_Pin;
	GPIO_InitStruct.Mode = GPIO_MODE_IT_FALLING;
	GPIO_InitStruct.Pull = GPIO_PULLUP;
	HAL_GPIO_Init(GPIOA, &GPIO_InitStruct);

	/*Configure GPIO pin : B3_Pin */
	GPIO_InitStruct.Pin = B3_Pin;
	GPIO_InitStruct.Mode = GPIO_MODE_IT_FALLING;
	GPIO_InitStruct.Pull = GPIO_PULLUP;
	HAL_GPIO_Init(B3_GPIO_Port, &GPIO_InitStruct);

}

/* USER CODE BEGIN 4 */
void DioIrqHndlr(RadioIrqMasks_t radioIrq) {
	if (radioIrq == IRQ_TX_DONE) {
		OBC_SUCCESS_DATA_RX_FLAG = 0;

		pktid++;

		if (pktid == 10) {
			pktid = 0;
			HAL_TIM_Base_Stop_IT(&htim1);
		}

		myDebug("\nSatellite Data Transmitted Successful, Length: %d\r\n",
				tx_buffer_len);
		for (int i = 0; i < tx_buffer_len; i++) {
			myDebug("%02x ", tx_buffer[i]);
		}
		myDebug("\r\n");

		memset(tx_buffer, '\0', sizeof(tx_buffer));

		if (PACKET_TYPE == 0xB1 || PACKET_TYPE == 0xB2) {
			BEACON_COUNT--;
			COUNT_BEACON--;
			PACKET_TYPE = 0;
		}

		if (DIGIPEATER_FLAG) {
			BEACON_COUNT = 2;
			OBC_SUCCESS_DATA_RX_FLAG = 0;
			DIGIPEATER_STATUS = 0;
			DIGIPEATER_FLAG = 0;
			DIGIPEATER_RX_FLAG = 0;
		}

		if (BEACON_COUNT == 0) {
			OBC_SUCCESS_DATA_RX_FLAG = 0;
			DIGIPEATER_STATUS = 1;
			myDebug("\n########## Digipeater Mode Configuration: ##########\n");
		} else {
			DIGIPEATER_STATUS = 0;
		}

		delay_us(500000);

		setPacketParams(rx_buffer_len);
		setModulationParams(GFSK_BR_1200, GFSK_FDEV_1200);
		radioConfig(rx_buffer, rx_buffer_len);

		myDebug("\n########## RX Configuration: ##########\n");

		myDebug("FREQUENCY MODS: UPLINK FREQ: %lu Hz\r\n", FREQ_435_MHZ);
		myDebug("Bit Rate: 	%d\n\r", mod_params.Params.Gfsk.BitRate);
		myDebug("Frequency Deviation: 	%d\n\r", mod_params.Params.Gfsk.Fdev);
		myDebug("RECEVING BANDWIDTH: 	%d\n\r",
				mod_params.Params.Gfsk.Bandwidth);
		myDebug("Packet Type 			%d\n\r", pkt_params.PacketType);
		myDebug("PayloadLength 			%d\n\r",
				pkt_params.Params.Gfsk.PayloadLength);
		myDebug("PreambleLength 		%d\n\r",
				pkt_params.Params.Gfsk.PreambleLength);
		myDebug("PreambleMinDetect		%d\n\r",
				pkt_params.Params.Gfsk.PreambleMinDetect);
		myDebug("HeaderType 			%d\n\r", pkt_params.Params.Gfsk.HeaderType);
		myDebug("__________*******************__________\r\n");

		SUBGRF_SetRfFrequency(FREQ_435_MHZ);
		SUBGRF_SetSwitch(RFO_LP, RFSWITCH_RX); /*Set RF switch*/
		SUBGRF_SetRxBoosted(0xFFFFFF);

		HAL_UART_Receive_DMA(&huart2, OBC_UART_RX, obc_plen);

		HAL_UART_Receive_DMA(&hlpuart1, OBC_UART_RX, obc_plen);

	}

	if (radioIrq == IRQ_RX_DONE) {
		SUBGRF_GetPayload(rx_buffer, &rx_buffer_len, RX_BUFF_LENGTH);
		rssi_value = SUBGRF_GetRssiInst();
		myDebug("\nGS Command Received: 0x%x\r\n");

		uint8_t temp_rx_buffer_len = 0;
		temp_rx_buffer_len = countsDataBetweenFlags(rx_buffer, rx_buffer_len);

		if (temp_rx_buffer_len != -1) {

			uint8_t temp_check_buff[temp_rx_buffer_len];
			for (int i = 0; i < temp_rx_buffer_len; i++) {
				temp_check_buff[i] = rx_buffer[i];
				myDebug("%02x ", temp_check_buff[i]);
			}
			myDebug("\r\n");

			memset(rx_buffer, '\0', sizeof(rx_buffer));

			uint8_t crc_buff_len = temp_rx_buffer_len - 4;
			uint8_t crc_buff[crc_buff_len];

			//			myDebug("\nGS Command Testing: 0x%x\r\n");

			int j = 0;
			for (int i = 1; i <= crc_buff_len; i++) {
				crc_buff[j] = temp_check_buff[i];
				//				myDebug("%02x ", crc_buff[j]);
				j++;
			}
			myDebug("\r\n");

			uint16_t crc = 0;
			crc = calculateCRC_CCITT_AX25(crc_buff, crc_buff_len);

			uint8_t calc_crc[2];
			calc_crc[0] = (crc >> 8) & 0xFF;
			calc_crc[1] = crc & 0xFF;

			uint8_t msb_crc = temp_check_buff[temp_rx_buffer_len - 3];
			uint8_t lsb_crc = temp_check_buff[temp_rx_buffer_len - 2];

			if (calc_crc[0] == msb_crc && calc_crc[1] == lsb_crc) {
				//				myDebug("GS Command checksum correct: 0x%x\r\n");

				uint8_t gs_cmd_buff[100];
				int gs_cmd_len = bit_destuffing(crc_buff, gs_cmd_buff,
						crc_buff_len);
				gs_cmd_len--;

				uint8_t main_gs_cmd[gs_cmd_len];
				for (int i = 0; i < gs_cmd_len; i++) {
					main_gs_cmd[i] = gs_cmd_buff[i];
				}

				COUNT_BEACON = 1;

				if (COUNT_BEACON == 1) {

					if ((main_gs_cmd[18] == 0xDF && main_gs_cmd[19] == 0xAB
							&& main_gs_cmd[20] == 0xD1) // Enable Digipeater Mission
							|| (main_gs_cmd[18] == 0x53
									&& main_gs_cmd[19] == 0x02
									&& main_gs_cmd[20] == 0x53)) { // Digipeater Packet

						myDebug("\n********GS Command failed: 0x%x\r\n");

						OBC_UART_RX[0] = 0x53;	//header
						OBC_UART_RX[1] = 0xac;	//packet_ type
						OBC_UART_RX[2] = 0x04;	//length of info
						OBC_UART_RX[3] = 0x02;	//mcu_no
						OBC_UART_RX[4] = 0xfc;	//false command
						OBC_UART_RX[5] = 0xee;	//error prefix
						obc_ilen = OBC_UART_RX[2];

						OBC_SUCCESS_DATA_RX_FLAG = 1;

						memset(main_gs_cmd, '\0', sizeof(main_gs_cmd));

					} else if (main_gs_cmd[18] == 0xFD
							&& main_gs_cmd[19] == 0xBA
							&& main_gs_cmd[20] == 0xD0) {

						BEACON_COUNT = 2;
						OBC_SUCCESS_DATA_RX_FLAG = 0;
						DIGIPEATER_STATUS = 0;
						DIGIPEATER_FLAG = 0;

						myDebug("\n-------> Digipeater MODE OFF\n\n");

						OBC_UART_RX[0] = 0x53;	//header
						OBC_UART_RX[1] = 0xac;	//packet_ type
						OBC_UART_RX[2] = 0x04;	//length of info
						OBC_UART_RX[3] = 0x02;	//mcu_no
						OBC_UART_RX[4] = 0x00;	//Digipeater OFF
						OBC_UART_RX[5] = 0xdd;	//Digipeater prefix
						obc_ilen = OBC_UART_RX[2];

						myDebug("\nCommand sent to OBC, Length: %d\r\n",
								gs_cmd_len);

						if (HAL_UART_Transmit(&huart2, main_gs_cmd,
								sizeof(main_gs_cmd), 2000) == HAL_OK
								|| HAL_UART_Transmit(&hlpuart1, main_gs_cmd,
										sizeof(main_gs_cmd), 2000)) {

							for (int i = 0; i < gs_cmd_len; i++) {
								myDebug("%02x ", main_gs_cmd[i]);
							}

							myDebug("\r\n");

							memset(main_gs_cmd, '\0', sizeof(main_gs_cmd));
							memset(rx_buffer, '\0', sizeof(rx_buffer));
							memset(temp_check_buff, '\0',
									sizeof(temp_check_buff));
							memset(crc_buff, '\0', sizeof(crc_buff));
							memset(gs_cmd_buff, '\0', sizeof(gs_cmd_buff));
						}

						OBC_SUCCESS_DATA_RX_FLAG = 1;

					} else {
						myDebug("\nCommand sent to OBC, Length: %d\r\n",
								gs_cmd_len);
						if (HAL_UART_Transmit(&huart2, main_gs_cmd,
								sizeof(main_gs_cmd), 2000) == HAL_OK
								|| HAL_UART_Transmit(&hlpuart1, main_gs_cmd,
										sizeof(main_gs_cmd), 2000)) {

							for (int i = 0; i < gs_cmd_len; i++) {
								myDebug("%02x ", main_gs_cmd[i]);
							}

							HAL_TIM_Base_Start_IT(&htim1);

							memset(main_gs_cmd, '\0', sizeof(main_gs_cmd));
							memset(rx_buffer, '\0', sizeof(rx_buffer));
							memset(temp_check_buff, '\0',
									sizeof(temp_check_buff));
							memset(crc_buff, '\0', sizeof(crc_buff));
							memset(gs_cmd_buff, '\0', sizeof(gs_cmd_buff));

							myDebug("\n\n_____OBC__RECEIVER_____\r\n");
						}

					}
				} else if (COUNT_BEACON == 0) {
					if (DIGIPEATER_STATUS == 1) {
						if (main_gs_cmd[18] == 0xFD && main_gs_cmd[19] == 0xBA
								&& main_gs_cmd[20] == 0xD0) {

							BEACON_COUNT = 2;
							OBC_SUCCESS_DATA_RX_FLAG = 0;
							DIGIPEATER_STATUS = 0;
							DIGIPEATER_FLAG = 0;

							myDebug("\n-------> Digipeater MODE OFF\n\n");

							OBC_UART_RX[0] = 0x53;	//header
							OBC_UART_RX[1] = 0xac;	//packet_ type
							OBC_UART_RX[2] = 0x04;	//length of info
							OBC_UART_RX[3] = 0x02;	//mcu_no
							OBC_UART_RX[4] = 0x00;	//Digipeater OFF
							OBC_UART_RX[5] = 0xdd;	//Digipeater prefix
							obc_ilen = OBC_UART_RX[2];

							myDebug("\nCommand sent to OBC, Length: %d\r\n",
									gs_cmd_len);

							if (HAL_UART_Transmit(&huart2, main_gs_cmd,
									sizeof(main_gs_cmd), 2000) == HAL_OK
									|| HAL_UART_Transmit(&hlpuart1, main_gs_cmd,
											sizeof(main_gs_cmd), 2000)) {

								for (int i = 0; i < gs_cmd_len; i++) {
									myDebug("%02x ", main_gs_cmd[i]);
								}

								myDebug("\r\n");

								memset(main_gs_cmd, '\0', sizeof(main_gs_cmd));
								memset(rx_buffer, '\0', sizeof(rx_buffer));
								memset(temp_check_buff, '\0',
										sizeof(temp_check_buff));
								memset(crc_buff, '\0', sizeof(crc_buff));
								memset(gs_cmd_buff, '\0', sizeof(gs_cmd_buff));
							}

							OBC_SUCCESS_DATA_RX_FLAG = 1;

						} else if (main_gs_cmd[18] == 0x53
								&& main_gs_cmd[19] == 0x02
								&& main_gs_cmd[20] == 0x53) { // if digipeater packet
							myDebug(
									"\nDigipeater packet sent to OBC, Length: %d\r\n",
									gs_cmd_len);
							if (HAL_UART_Transmit(&huart2, main_gs_cmd,
									sizeof(main_gs_cmd), 2000) == HAL_OK
									|| HAL_UART_Transmit(&hlpuart1, main_gs_cmd,
											sizeof(main_gs_cmd), 2000)) {

								for (int i = 0; i < gs_cmd_len; i++) {
									myDebug("%02x ", main_gs_cmd[i]);
								}

								myDebug("\r\n");

								memset(main_gs_cmd, '\0', sizeof(main_gs_cmd));
								memset(rx_buffer, '\0', sizeof(rx_buffer));
								memset(temp_check_buff, '\0',
										sizeof(temp_check_buff));
								memset(crc_buff, '\0', sizeof(crc_buff));
								memset(gs_cmd_buff, '\0', sizeof(gs_cmd_buff));

								myDebug(
										"\n\n_____DIGIPEATER_OBC__RECEIVER_____\r\n");
							}
						} else {
							myDebug("\n********GS Command failed: 0x%x\r\n");

							OBC_UART_RX[0] = 0x53;	//header
							OBC_UART_RX[1] = 0xac;	//packet_ type
							OBC_UART_RX[2] = 0x04;	//length of info
							OBC_UART_RX[3] = 0x02;	//mcu_no
							OBC_UART_RX[4] = 0xfc;	//false command
							OBC_UART_RX[5] = 0xee;	//error prefix
							obc_ilen = OBC_UART_RX[2];

							OBC_SUCCESS_DATA_RX_FLAG = 1;

							memset(main_gs_cmd, '\0', sizeof(main_gs_cmd));

						}
					} else if (DIGIPEATER_STATUS == 0) {
						if (main_gs_cmd[18] == 0xFD && main_gs_cmd[19] == 0xBA
								&& main_gs_cmd[20] == 0xD0) {

							BEACON_COUNT = 2;
							OBC_SUCCESS_DATA_RX_FLAG = 0;
							DIGIPEATER_STATUS = 0;
							DIGIPEATER_FLAG = 0;

							myDebug("\n-------> Digipeater MODE OFF\n\n");

							OBC_UART_RX[0] = 0x53;	//header
							OBC_UART_RX[1] = 0xac;	//packet_ type
							OBC_UART_RX[2] = 0x04;	//length of info
							OBC_UART_RX[3] = 0x02;	//mcu_no
							OBC_UART_RX[4] = 0x00;	//Digipeater OFF
							OBC_UART_RX[5] = 0xdd;	//Digipeater prefix
							obc_ilen = OBC_UART_RX[2];

							myDebug("\nCommand sent to OBC, Length: %d\r\n",
									gs_cmd_len);

							if (HAL_UART_Transmit(&huart2, main_gs_cmd,
									sizeof(main_gs_cmd), 2000) == HAL_OK
									|| HAL_UART_Transmit(&hlpuart1, main_gs_cmd,
											sizeof(main_gs_cmd), 2000)) {

								for (int i = 0; i < gs_cmd_len; i++) {
									myDebug("%02x ", main_gs_cmd[i]);
								}
								myDebug("\r\n");

								memset(main_gs_cmd, '\0', sizeof(main_gs_cmd));
								memset(rx_buffer, '\0', sizeof(rx_buffer));
								memset(temp_check_buff, '\0',
										sizeof(temp_check_buff));
								memset(crc_buff, '\0', sizeof(crc_buff));
								memset(gs_cmd_buff, '\0', sizeof(gs_cmd_buff));
							}

							OBC_SUCCESS_DATA_RX_FLAG = 1;

						} else if (main_gs_cmd[18] == 0xDF
								&& main_gs_cmd[19] == 0xAB
								&& main_gs_cmd[20] == 0xD1) {

							BEACON_COUNT = 0;
							OBC_SUCCESS_DATA_RX_FLAG = 0;
							DIGIPEATER_STATUS = 1;
							DIGIPEATER_RX_FLAG = 1;

							myDebug("\n-------> Digipeater MODE ON\n\n");

							OBC_UART_RX[0] = 0x53;	//header
							OBC_UART_RX[1] = 0xac;	//packet_ type
							OBC_UART_RX[2] = 0x04;	//length of info
							OBC_UART_RX[3] = 0x02;	//mcu_no
							OBC_UART_RX[4] = 0x01;	//Digipeater ON
							OBC_UART_RX[5] = 0xdd;	//Digipeater prefix
							obc_ilen = OBC_UART_RX[2];

							myDebug("\nCommand sent to OBC, Length: %d\r\n",
									gs_cmd_len);

							if (HAL_UART_Transmit(&huart2, main_gs_cmd,
									sizeof(main_gs_cmd), 2000) == HAL_OK
									|| HAL_UART_Transmit(&hlpuart1, main_gs_cmd,
											sizeof(main_gs_cmd), 2000)) {

								for (int i = 0; i < gs_cmd_len; i++) {
									myDebug("%02x ", main_gs_cmd[i]);
								}

								myDebug("\r\n");

								memset(main_gs_cmd, '\0', sizeof(main_gs_cmd));
								memset(rx_buffer, '\0', sizeof(rx_buffer));
								memset(temp_check_buff, '\0',
										sizeof(temp_check_buff));
								memset(crc_buff, '\0', sizeof(crc_buff));
								memset(gs_cmd_buff, '\0', sizeof(gs_cmd_buff));
							}

						} else if (main_gs_cmd[18] == 0x53
								&& main_gs_cmd[19] == 0x02
								&& main_gs_cmd[20] == 0x53) { // Digipeater Packet

							myDebug("\n********GS Command failed: 0x%x\r\n");

							OBC_UART_RX[0] = 0x53;	//header
							OBC_UART_RX[1] = 0xac;	//packet_ type
							OBC_UART_RX[2] = 0x04;	//length of info
							OBC_UART_RX[3] = 0x02;	//mcu_no
							OBC_UART_RX[4] = 0xfc;	//false command
							OBC_UART_RX[5] = 0xee;	//error prefix
							obc_ilen = OBC_UART_RX[2];

							OBC_SUCCESS_DATA_RX_FLAG = 1;

							memset(main_gs_cmd, '\0', sizeof(main_gs_cmd));

						} else {
							myDebug("\nCommand sent to OBC, Length: %d\r\n",
									gs_cmd_len);

							if (HAL_UART_Transmit(&huart2, main_gs_cmd,
									sizeof(main_gs_cmd), 2000) == HAL_OK
									|| HAL_UART_Transmit(&hlpuart1, main_gs_cmd,
											sizeof(main_gs_cmd), 2000)) {

								for (int i = 0; i < gs_cmd_len; i++) {
									myDebug("%02x ", main_gs_cmd[i]);
								}

								myDebug("\r\n");

								memset(main_gs_cmd, '\0', sizeof(main_gs_cmd));
								memset(rx_buffer, '\0', sizeof(rx_buffer));
								memset(temp_check_buff, '\0',
										sizeof(temp_check_buff));
								memset(crc_buff, '\0', sizeof(crc_buff));
								memset(gs_cmd_buff, '\0', sizeof(gs_cmd_buff));

								//myDebug("\n\n_____OBC__RECEIVER_____\r\n");
							}

						}
					}
				}
			} else {
				myDebug("\n********GS Command checksum incorrect: 0x%x\r\n");

				OBC_UART_RX[0] = 0x53;	//header
				OBC_UART_RX[1] = 0xac;	//packet_ type
				OBC_UART_RX[2] = 0x04;	//length of info
				OBC_UART_RX[3] = 0x02;	//mcu_no
				OBC_UART_RX[4] = 0xcc;	//checksum_error
				OBC_UART_RX[5] = 0xee;	//error prefix
				obc_ilen = OBC_UART_RX[2];

				OBC_SUCCESS_DATA_RX_FLAG = 1;
			}
		} else {
			myDebug(
					"\n********GS Command Not Complete 7e.....7e not received: 0x%x\r\n");

			OBC_UART_RX[0] = 0x53;	//header
			OBC_UART_RX[1] = 0xac;	//packet_ type
			OBC_UART_RX[2] = 0x04;	//length of info
			OBC_UART_RX[3] = 0x02;	//mcu_no
			OBC_UART_RX[4] = 0x00;	// packet error
			OBC_UART_RX[5] = 0xee;	//error prefix
			obc_ilen = OBC_UART_RX[2];

			OBC_SUCCESS_DATA_RX_FLAG = 1;
		}

		SUBGRF_SetRfFrequency(FREQ_435_MHZ);
		SUBGRF_SetSwitch(RFO_LP, RFSWITCH_RX); /*Set RF switch*/
		SUBGRF_SetRxBoosted(0xFFFFFF);

		HAL_UART_Receive_DMA(&huart2, OBC_UART_RX, obc_plen);

		HAL_UART_Receive_DMA(&hlpuart1, OBC_UART_RX, obc_plen);

	}

}
/* USER CODE END 4 */

void Error_Handler(void) {
	__disable_irq();
	while (1) {
	}
}
